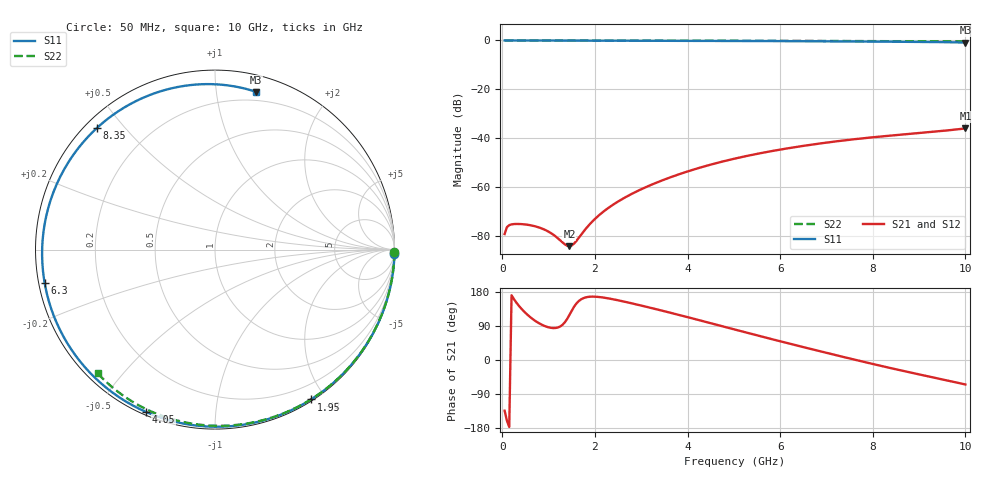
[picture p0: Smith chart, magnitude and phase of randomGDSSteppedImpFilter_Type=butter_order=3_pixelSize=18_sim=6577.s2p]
! freq	dB(S11)	phase(S11)	dB(S12)	phase(S12)
!  dB(S21)	phase(S21)	dB(S22)	phase(S22)
!S-par simulation data
#  GHz  S  DB  R 50
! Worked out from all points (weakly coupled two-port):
!   200 points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, 50 MHz to 10 GHz, reference 50 ohm
!   highest |S21| = -35.90 dB at 10 GHz (marker M1); lowest = -83.9 dB at 1.45 GHz (marker M2)
!   lowest |S11| = -0.8 dB at 10 GHz (marker M3), VSWR 20.78, Z = 6.41 + j64.3 ohm
!   |S11| at or under -10 dB: nowhere
!   |S22| runs from -0.4 to 0.0 dB; largest |S21 - S12| = 0
!   S11 on the Smith chart (normalised r, x): 50 MHz: 0, -76; 1.95 GHz: 0.02, -1.83; 4.05 GHz: 0.01, -0.66; 6.3 GHz: 0.02, -0.10; 8.35 GHz: 0.03, +0.42; 10 GHz: 0.13, +1.29
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0.05  -0.00 -1.5  -79.01 -133.8  -79.01 -133.8  -0.00 -0.8
0.1  -0.00 -3.0  -76.18 -160.1  -76.18 -160.1  -0.00 -1.5
0.15  -0.00 -4.5  -75.37 -176.8  -75.37 -176.8  -0.00 -2.3
0.35  -0.01 -10.6  -74.89 144.2  -74.89 144.2  -0.00 -5.4
0.8  -0.03 -24.1  -76.36 96.5  -76.36 96.5  -0.01 -12.3
1.15  -0.04 -34.4  -79.95 84.5  -79.95 84.5  -0.02 -17.6
1.45  -0.05 -43.1  -83.95 119.0  -83.95 119.0  -0.03 -22.1
1.65  -0.06 -48.8  -80.57 155.5  -80.57 155.5  -0.03 -25.1
1.75  -0.06 -51.7  -78.08 163.1  -78.08 163.1  -0.03 -26.6
1.95  -0.07 -57.3  -73.76 167.3  -73.76 167.3  -0.04 -29.6
2.55  -0.09 -73.9  -65.16 156.3  -65.16 156.3  -0.05 -38.5
3.4  -0.12 -96.5  -57.49 131.8  -57.49 131.8  -0.07 -50.7
4.05  -0.15 -113.1  -53.16 111.5  -53.16 111.5  -0.08 -59.8
5.05  -0.20 -137.9  -48.09 79.5  -48.09 79.5  -0.11 -73.4
5.7  -0.24 -154.0  -45.55 58.8  -45.55 58.8  -0.14 -81.9
6.3  -0.29 -169.1  -43.61 40.2  -43.61 40.2  -0.16 -89.5
6.7  -0.32 -179.3  -42.47 28.0  -42.47 28.0  -0.18 -94.5
7.55  -0.41 157.7  -40.42 2.6  -40.42 2.6  -0.23 -104.9
8.35  -0.50 134.0  -38.89 -20.4  -38.89 -20.4  -0.29 -114.4
9.25  -0.63 104.0  -37.37 -44.5  -37.37 -44.5  -0.37 -124.9
9.65  -0.72 89.2  -36.63 -55.0  -36.63 -55.0  -0.41 -129.5
10  -0.84 75.4  -35.90 -64.6  -35.90 -64.6  -0.44 -133.5
